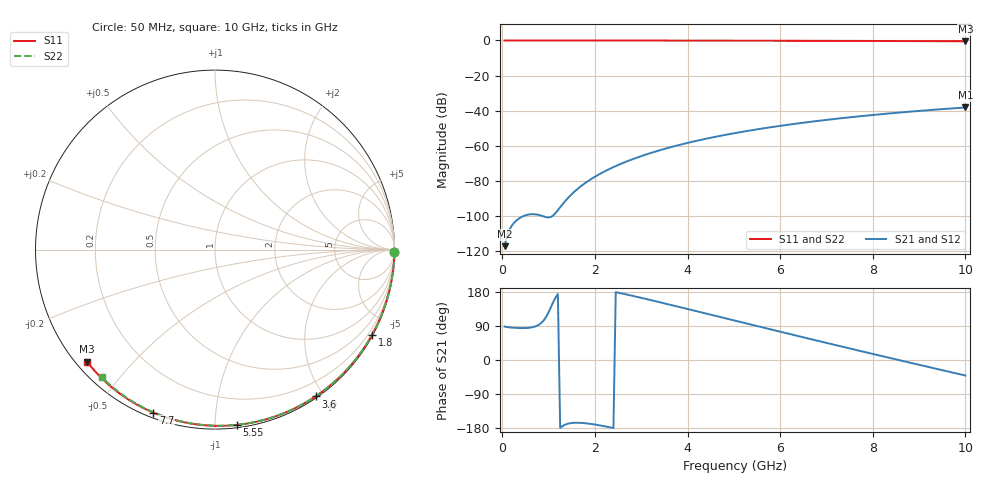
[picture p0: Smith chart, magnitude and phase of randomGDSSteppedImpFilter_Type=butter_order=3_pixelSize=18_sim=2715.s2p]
! freq	dB(S11)	phase(S11)	dB(S12)	phase(S12)
!  dB(S21)	phase(S21)	dB(S22)	phase(S22)
!S-par simulation data
#  GHz  S  DB  R 50
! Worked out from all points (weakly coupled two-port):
!   200 points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, 50 MHz to 10 GHz, reference 50 ohm
!   highest |S21| = -38.16 dB at 10 GHz (marker M1); lowest = -117.1 dB at 50 MHz (marker M2)
!   lowest |S11| = -0.5 dB at 10 GHz (marker M3), VSWR 37.14, Z = 1.54 - j18.8 ohm
!   |S11| at or under -10 dB: nowhere
!   |S22| runs from -0.4 to 0.0 dB; largest |S21 - S12| = 0
!   S11 on the Smith chart (normalised r, x): 50 MHz: open; 1.8 GHz: 0.03, -3.94; 3.6 GHz: 0.02, -1.90; 5.55 GHz: 0.02, -1.13; 7.7 GHz: 0.02, -0.69; 10 GHz: 0.03, -0.38
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0.05  -0.00 -0.8  -117.13 88.3  -117.13 88.3  -0.00 -0.8
0.45  -0.01 -7.2  -100.07 84.2  -100.07 84.2  -0.01 -6.8
0.9  -0.02 -14.4  -100.24 105.4  -100.24 105.4  -0.02 -13.6
1.75  -0.04 -27.7  -81.94 -166.4  -81.94 -166.4  -0.03 -26.2
1.8  -0.04 -28.5  -80.99 -167.0  -80.99 -167.0  -0.03 -27.0
1.85  -0.04 -29.2  -80.09 -167.7  -80.09 -167.7  -0.04 -27.7
2.15  -0.04 -33.9  -75.36 -173.5  -75.36 -173.5  -0.04 -32.1
2.35  -0.05 -36.9  -72.71 -178.3  -72.71 -178.3  -0.04 -35.0
2.55  -0.05 -40.0  -70.36 176.5  -70.36 176.5  -0.05 -37.9
2.95  -0.06 -46.0  -66.31 165.5  -66.31 165.5  -0.06 -43.6
3.4  -0.07 -52.7  -62.52 152.4  -62.52 152.4  -0.07 -49.9
3.6  -0.07 -55.6  -61.03 146.5  -61.03 146.5  -0.07 -52.7
3.9  -0.08 -60.0  -58.98 137.6  -58.98 137.6  -0.08 -56.9
4.3  -0.09 -65.7  -56.53 125.6  -56.53 125.6  -0.09 -62.3
5.05  -0.12 -76.1  -52.62 103.1  -52.62 103.1  -0.11 -72.3
5.55  -0.14 -82.9  -50.40 88.1  -50.40 88.1  -0.13 -78.7
6.1  -0.16 -90.3  -48.25 71.7  -48.25 71.7  -0.15 -85.7
6.7  -0.19 -98.1  -46.17 53.9  -46.17 53.9  -0.18 -93.1
7.7  -0.25 -110.7  -43.22 24.7  -43.22 24.7  -0.24 -105.2
8.35  -0.30 -118.7  -41.58 5.9  -41.58 5.9  -0.29 -112.8
9.2  -0.38 -129.1  -39.70 -18.3  -39.70 -18.3  -0.36 -122.5
10  -0.47 -138.8  -38.16 -41.0  -38.16 -41.0  -0.44 -131.6
